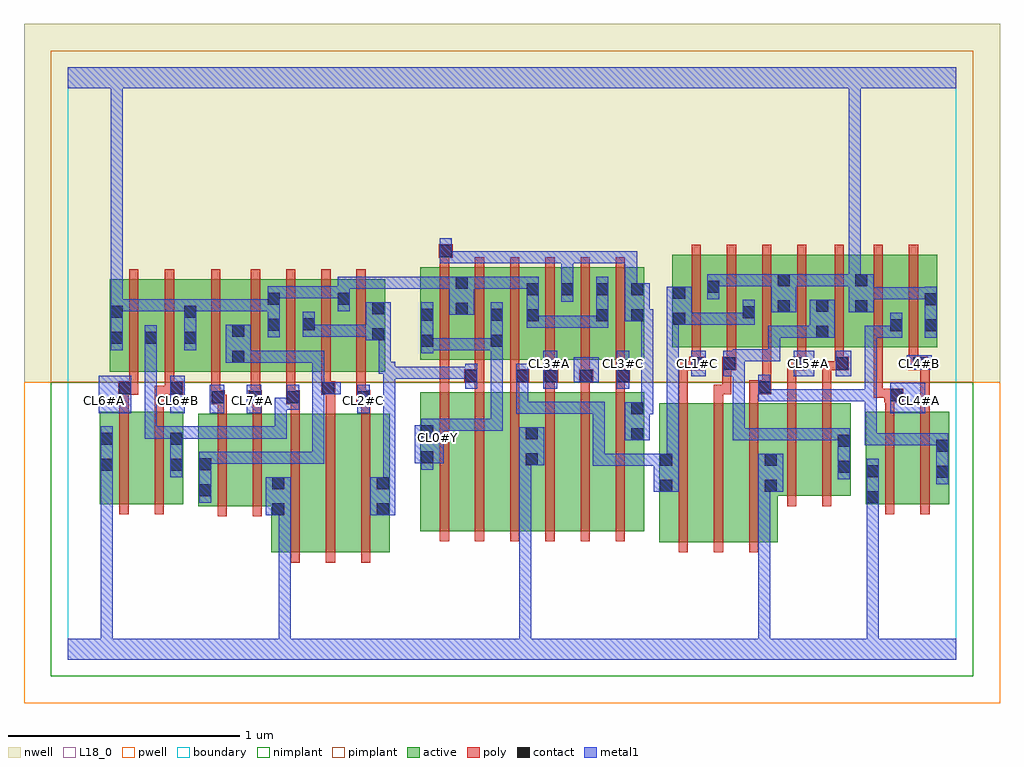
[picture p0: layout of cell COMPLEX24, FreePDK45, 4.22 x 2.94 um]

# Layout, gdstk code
import gdstk
lib = gdstk.Library(unit=1e-6, precision=1e-09)
def R(c, l, rs):  # rectangles x0, y0, x1, y1
    for r in rs: c.add(gdstk.rectangle(r[:2], r[2:], *l))
def A(c, l, x, y, w, h, nx, ny, dx, dy):  # array of equal rectangles
    R(c, l, [(x+i*dx, y+j*dy, x+i*dx+w, y+j*dy+h) for i in range(nx) for j in range(ny)])
active = (1, 0)
pwell = (2, 0)
nwell = (3, 0)
nimplant = (4, 0)
pimplant = (5, 0)
poly = (9, 0)
contact = (10, 0)
metal1 = (11, 0)
L18_0 = (18, 0)
boundary = (235, 0)

complex24 = lib.new_cell('COMPLEX24')
A(complex24, active, 0.708, 1.244, 0.212, 0.4, 3, 1, 0.152, 0)
R(complex24, active, [(0.88,0.464,1.06,1.064), (0.88,0.464,0.94,0.792), (1.06,0.464,1.212,1.064), (1.212,0.464,1.392,1.064), (1.332,0.464,1.392,1.064), (2.556,0.508,2.736,1.108), (2.736,0.508,2.888,1.108), (2.888,0.508,3.068,1.108), (3.008,0.508,3.068,0.894), (1.524,0.556,1.704,1.156), (1.524,0.556,1.584,1.156), (1.704,0.556,1.856,1.156), (1.856,0.556,2.036,1.156), (1.976,0.556,2.16,1.156), (1.976,0.556,2.036,1.008), (2.16,0.556,2.312,1.156), (2.312,0.556,2.492,1.156), (2.432,0.556,2.492,1.156), (2.556,0.556,2.616,1.108), (0.564,0.664,0.624,1.064), (0.564,0.664,0.744,1.064), (0.744,0.664,0.94,1.064), (0.14,0.672,0.2,1.072), (0.14,0.672,0.32,1.072), (0.32,0.672,0.5,1.072), (0.44,0.672,0.5,1.072), (3.448,0.672,3.508,1.072), (3.448,0.672,3.628,1.072), (3.628,0.672,3.808,1.072), (3.748,0.672,3.808,1.072), (3.008,0.708,3.204,1.108), (3.204,0.708,3.384,1.108), (3.324,0.708,3.384,1.108), (0.182,1.244,0.242,1.644), (0.182,1.244,0.39,1.644), (0.33,1.244,0.56,1.644), (0.5,1.244,0.768,1.644), (1.164,1.244,1.372,1.644), (1.312,1.244,1.372,1.644), (0.708,1.28,0.768,1.644), (1.524,1.296,1.732,1.696), (1.524,1.296,1.584,1.644), (1.672,1.296,1.732,1.696), (1.672,1.296,1.884,1.696), (1.824,1.296,2.04,1.696), (1.98,1.296,2.188,1.696), (2.128,1.296,2.34,1.696), (2.28,1.296,2.492,1.696), (2.432,1.296,2.492,1.696), (1.824,1.348,1.884,1.644), (2.612,1.35,2.672,1.644), (2.612,1.35,2.82,1.75), (2.76,1.35,2.972,1.75), (2.912,1.35,3.124,1.75), (3.064,1.35,3.124,1.75), (3.064,1.35,3.29,1.75), (3.23,1.35,3.458,1.75), (3.398,1.35,3.458,1.75), (3.398,1.35,3.61,1.75), (3.55,1.35,3.758,1.75), (3.698,1.35,3.758,1.644), (0.33,1.362,0.39,1.644), (0.5,1.362,0.56,1.644), (3.23,1.388,3.29,1.644), (3.55,1.416,3.61,1.644), (0.86,1.418,0.92,1.644), (1.012,1.42,1.072,1.644), (1.98,1.458,2.04,1.644), (2.28,1.458,2.34,1.644), (2.912,1.472,2.972,1.644), (1.164,1.53,1.224,1.644), (2.128,1.57,2.188,1.644), (2.76,1.582,2.82,1.644)])
R(complex24, pwell, [(-0.188,-0.188,4.028,1.2)])
R(complex24, nwell, [(-0.188,1.2,4.028,2.748)])
R(complex24, nimplant, [(-0.072,-0.072,3.912,1.2)])
R(complex24, pimplant, [(-0.072,1.2,3.912,2.632)])
A(complex24, poly, 0.964, 0.42, 0.04, 0.688, 3, 1, 0.152, 0)
A(complex24, poly, 2.64, 0.464, 0.04, 0.688, 3, 1, 0.152, 0)
A(complex24, poly, 1.608, 0.512, 0.04, 0.688, 6, 1, 0.152, 0)
A(complex24, poly, 1.76, 1.16, 0.04, 0.076, 5, 1, 0.152, 0)
A(complex24, poly, 0.792, 1.2, 0.04, 0.488, 4, 1, 0.152, 0)
A(complex24, poly, 1.608, 1.216, 0.04, 0.076, 6, 1, 0.152, 0)
A(complex24, poly, 1.608, 1.252, 0.04, 0.488, 6, 1, 0.152, 0)
A(complex24, poly, 2.696, 1.306, 0.04, 0.488, 4, 1, 0.152, 0)
R(complex24, poly, [(0.648,0.62,0.688,1.108), (0.8,0.62,0.84,1.108), (0.224,0.628,0.264,1.116), (0.376,0.628,0.416,1.116), (3.532,0.628,3.572,1.116), (3.684,0.628,3.724,1.116), (3.108,0.664,3.148,1.152), (3.26,0.664,3.3,1.152), (0.648,1.068,0.688,1.144), (0.8,1.068,0.84,1.144), (0.964,1.068,1.004,1.144), (1.116,1.068,1.156,1.184), (1.268,1.068,1.308,1.144), (0.224,1.076,0.264,1.184), (0.376,1.076,0.416,1.184), (3.532,1.076,3.572,1.152), (3.684,1.076,3.724,1.29), (0.62,1.104,0.68,1.164), (0.64,1.104,0.68,1.144), (0.64,1.104,0.688,1.144), (0.78,1.104,0.84,1.164), (0.8,1.104,0.84,1.144), (0.8,1.104,0.84,1.144), (0.944,1.104,1.004,1.164), (1.248,1.104,1.308,1.164), (2.64,1.112,2.68,1.29), (2.792,1.112,2.832,1.188), (2.944,1.112,2.984,1.188), (3.108,1.112,3.148,1.29), (3.26,1.112,3.3,1.29), (3.528,1.112,3.61,1.172), (0.62,1.124,0.66,1.24), (0.792,1.124,0.832,1.24), (0.944,1.124,0.984,1.164), (0.944,1.124,0.984,1.164), (0.944,1.124,0.984,1.24), (1.248,1.124,1.288,1.164), (1.248,1.124,1.288,1.164), (1.248,1.124,1.288,1.24), (3.482,1.132,3.522,1.346), (3.482,1.132,3.568,1.172), (3.528,1.132,3.568,1.172), (0.22,1.144,0.306,1.204), (0.224,1.144,0.264,1.184), (0.224,1.144,0.264,1.184), (0.376,1.144,0.46,1.184), (0.42,1.144,0.46,1.184), (0.42,1.144,0.5,1.204), (1.096,1.144,1.156,1.204), (2.792,1.148,2.868,1.188), (2.828,1.148,2.868,1.29), (2.944,1.148,3.04,1.208), (1.608,1.16,1.648,1.256), (0.266,1.164,0.306,1.24), (0.42,1.164,0.46,1.24), (1.096,1.164,1.136,1.24), (1.096,1.164,1.136,1.204), (1.096,1.164,1.136,1.204), (3,1.168,3.04,1.208), (3,1.168,3.04,1.208), (3,1.168,3.04,1.346), (1.714,1.196,1.8,1.256), (1.912,1.196,1.994,1.256), (2.06,1.196,2.12,1.256), (2.064,1.196,2.104,1.236), (2.064,1.196,2.104,1.236), (2.21,1.196,2.27,1.256), (2.216,1.196,2.256,1.236), (2.216,1.196,2.256,1.236), (2.368,1.196,2.408,1.236), (2.368,1.196,2.408,1.236), (2.368,1.196,2.428,1.256), (0.266,1.2,0.306,1.688), (0.42,1.2,0.46,1.688), (0.62,1.2,0.66,1.688), (1.608,1.216,1.648,1.256), (1.608,1.216,1.648,1.256), (1.608,1.216,1.648,1.256), (1.76,1.216,1.8,1.256), (1.76,1.216,1.8,1.256), (1.912,1.216,1.952,1.256), (1.912,1.216,1.952,1.256), (2.64,1.25,2.726,1.29), (2.686,1.25,2.726,1.29), (2.686,1.25,2.75,1.31), (2.828,1.25,2.888,1.31), (3.108,1.25,3.172,1.29), (3.132,1.25,3.172,1.29), (3.132,1.25,3.192,1.31), (3.26,1.25,3.354,1.29), (3.314,1.25,3.354,1.29), (3.314,1.25,3.374,1.31), (3.634,1.25,3.716,1.31), (3.676,1.25,3.716,1.29), (3.676,1.25,3.724,1.29), (2.696,1.27,2.736,1.346), (2.848,1.27,2.888,1.346), (3.152,1.27,3.192,1.346), (3.314,1.27,3.354,1.346), (3.634,1.27,3.674,1.346), (3.314,1.306,3.354,1.794), (3.482,1.306,3.522,1.794), (3.634,1.306,3.674,1.794), (1.608,1.7,1.648,1.776), (1.604,1.736,1.664,1.796)])
A(complex24, contact, 2.132, 1.574, 0.052, 0.052, 3, 1, 0.152, 0)
R(complex24, contact, [(0.884,0.624,0.936,0.676), (1.336,0.624,1.388,0.676), (3.452,0.676,3.504,0.728), (0.568,0.706,0.62,0.758), (2.56,0.726,2.612,0.778), (3.012,0.726,3.064,0.778), (0.884,0.736,0.936,0.788), (1.336,0.736,1.388,0.788), (3.752,0.786,3.804,0.838), (3.452,0.788,3.504,0.84), (3.328,0.808,3.38,0.86), (0.144,0.816,0.196,0.868), (0.444,0.816,0.496,0.868), (0.568,0.818,0.62,0.87), (2.56,0.838,2.612,0.89), (3.012,0.838,3.064,0.89), (1.98,0.84,2.032,0.892), (1.528,0.85,1.58,0.902), (1.528,0.85,1.58,0.902), (3.752,0.898,3.804,0.95), (3.328,0.92,3.38,0.972), (0.144,0.928,0.196,0.98), (0.444,0.928,0.496,0.98), (2.436,0.948,2.488,1), (1.98,0.952,2.032,1.004), (1.528,0.962,1.58,1.014), (1.528,0.962,1.58,1.014), (2.436,1.06,2.488,1.112), (0.624,1.108,0.676,1.16), (0.784,1.108,0.836,1.16), (0.948,1.108,1,1.16), (1.252,1.108,1.304,1.16), (3.554,1.116,3.606,1.168), (0.224,1.148,0.276,1.2), (0.444,1.148,0.496,1.2), (1.1,1.148,1.152,1.2), (2.984,1.152,3.036,1.204), (1.718,1.2,1.77,1.252), (1.938,1.2,1.99,1.252), (2.064,1.2,2.116,1.252), (2.214,1.2,2.266,1.252), (2.372,1.2,2.424,1.252), (2.694,1.254,2.746,1.306), (2.832,1.254,2.884,1.306), (3.136,1.254,3.188,1.306), (3.318,1.254,3.37,1.306), (3.654,1.254,3.706,1.306), (0.712,1.284,0.764,1.336), (1.528,1.352,1.58,1.404), (1.828,1.352,1.88,1.404), (0.186,1.366,0.238,1.418), (0.334,1.366,0.386,1.418), (0.504,1.366,0.556,1.418), (1.316,1.38,1.368,1.432), (3.234,1.392,3.286,1.444), (0.712,1.396,0.764,1.448), (3.554,1.42,3.606,1.472), (3.702,1.42,3.754,1.472), (0.864,1.422,0.916,1.474), (1.016,1.424,1.068,1.476), (2.616,1.448,2.668,1.5), (1.984,1.462,2.036,1.514), (2.284,1.462,2.336,1.514), (2.436,1.462,2.488,1.514), (1.528,1.464,1.58,1.516), (1.828,1.464,1.88,1.516), (2.916,1.476,2.968,1.528), (0.186,1.478,0.238,1.53), (0.504,1.478,0.556,1.53), (1.676,1.49,1.728,1.542), (1.316,1.492,1.368,1.544), (3.068,1.502,3.12,1.554), (3.402,1.502,3.454,1.554), (3.234,1.504,3.286,1.556), (3.702,1.532,3.754,1.584), (0.864,1.534,0.916,1.586), (1.168,1.534,1.22,1.586), (2.616,1.56,2.668,1.612), (1.984,1.574,2.036,1.626), (2.764,1.586,2.816,1.638), (1.676,1.602,1.728,1.654), (3.068,1.614,3.12,1.666), (3.402,1.614,3.454,1.666), (1.608,1.74,1.66,1.792)])
A(complex24, metal1, 2.998, 0.948, 0.052, 0.052, 3, 2, 0.11, 0.666)
A(complex24, metal1, 2.998, 0.948, 0.162, 0.052, 3, 1, 0.11, 0)
A(complex24, metal1, 1.938, 1.062, 0.052, 0.052, 3, 1, 0.11, 0)
A(complex24, metal1, 1.938, 1.062, 0.162, 0.052, 3, 1, 0.11, 0)
A(complex24, metal1, 3.482, 1.558, 0.052, 0.052, 3, 1, 0.11, 0)
A(complex24, metal1, 1.608, 1.712, 0.162, 0.052, 4, 1, 0.11, 0)
A(complex24, metal1, 1.718, 1.712, 0.052, 0.052, 3, 1, 0.11, 0)
R(complex24, metal1, [(0,0,3.84,0.092), (0.144,0.04,0.196,0.092), (0.144,0.04,0.196,0.092), (0.144,0.04,0.196,0.092), (0.144,0.04,0.196,0.092), (0.144,0.04,0.196,0.092), (0.144,0.04,0.196,0.092), (0.144,0.04,0.196,0.092), (0.144,0.04,0.196,0.092), (0.144,0.04,0.196,0.092), (0.144,0.04,0.196,0.092), (0.144,0.04,0.196,0.84), (0.912,0.04,0.964,0.092), (0.912,0.04,0.964,0.092), (0.912,0.04,0.964,0.676), (1.952,0.04,2.004,0.092), (1.952,0.04,2.004,0.092), (1.952,0.04,2.004,0.892), (2.984,0.04,3.036,0.092), (2.984,0.04,3.036,0.092), (2.984,0.04,3.036,0.092), (2.984,0.04,3.036,0.092), (2.984,0.04,3.036,0.778), (3.452,0.04,3.504,0.092), (3.452,0.04,3.504,0.092), (3.452,0.04,3.504,0.7), (0.856,0.624,0.964,0.788), (0.912,0.624,0.964,0.676), (0.912,0.624,0.964,0.676), (0.912,0.624,0.964,0.676), (0.912,0.624,0.964,0.676), (0.912,0.624,0.964,0.676), (0.912,0.624,0.964,0.676), (1.308,0.624,1.416,0.788), (3.452,0.648,3.504,0.7), (3.452,0.648,3.504,0.7), (3.452,0.648,3.504,0.7), (3.452,0.648,3.504,0.7), (3.452,0.648,3.504,0.7), (3.452,0.648,3.504,0.7), (3.452,0.648,3.504,0.7), (3.452,0.648,3.504,0.7), (3.452,0.648,3.504,0.7), (3.452,0.648,3.504,0.7), (3.452,0.648,3.504,0.868), (0.568,0.678,0.62,0.898), (2.532,0.726,2.64,0.89), (2.984,0.726,3.036,0.778), (2.984,0.726,3.036,0.778), (2.984,0.726,3.036,0.778), (2.984,0.726,3.036,0.778), (2.984,0.726,3.092,0.89), (1.364,0.736,1.416,1.266), (3.752,0.758,3.804,0.978), (3.328,0.78,3.38,1), (0.144,0.788,0.196,0.84), (0.144,0.788,0.196,0.84), (0.144,0.788,0.196,1.008), (0.444,0.788,0.496,1.008), (1.528,0.822,1.58,1.042), (2.268,0.838,2.32,0.89), (2.268,0.838,2.32,0.89), (2.268,0.838,2.32,0.89), (2.268,0.838,2.584,0.89), (2.268,0.838,2.32,1.114), (2.532,0.838,2.584,0.89), (2.532,0.838,2.584,0.89), (2.588,0.838,2.64,0.89), (2.588,0.838,2.64,0.89), (2.588,0.838,2.64,0.904), (1.952,0.84,2.004,0.892), (1.952,0.84,2.004,0.892), (1.952,0.84,2.004,0.892), (1.952,0.84,2.004,0.892), (1.952,0.84,2.004,0.892), (1.952,0.84,2.004,0.892), (1.952,0.84,2.06,1.004), (0.568,0.846,0.666,0.898), (0.614,0.846,0.666,0.898), (0.614,0.846,0.798,0.898), (0.746,0.846,0.798,0.898), (0.746,0.846,0.798,0.898), (0.746,0.846,0.798,0.898), (0.746,0.846,0.948,0.898), (0.896,0.846,0.948,0.898), (0.896,0.846,0.948,0.898), (0.896,0.846,0.948,0.898), (0.896,0.846,1.11,0.898), (1.058,0.846,1.11,0.898), (1.058,0.846,1.11,1.2), (1.5,0.85,1.626,1.014), (2.588,0.852,2.64,0.904), (2.588,0.852,2.64,1.5), (3.444,0.926,3.496,0.978), (3.444,0.926,3.496,0.978), (3.444,0.926,3.496,0.978), (3.444,0.926,3.644,0.978), (3.444,0.926,3.496,1.168), (3.592,0.926,3.644,0.978), (3.592,0.926,3.644,0.978), (3.592,0.926,3.644,0.978), (3.592,0.926,3.804,0.978), (2.408,0.948,2.516,1.112), (2.874,0.948,2.926,1), (2.874,0.948,3.05,1), (2.874,0.948,2.926,1.334), (2.998,0.948,3.05,1), (2.998,0.948,3.05,1), (3.218,0.948,3.27,1), (3.218,0.948,3.27,1), (0.334,0.956,0.386,1.008), (0.334,0.956,0.386,1.008), (0.334,0.956,0.386,1.008), (0.334,0.956,0.386,1.008), (0.334,0.956,0.386,1.008), (0.334,0.956,0.496,1.008), (0.334,0.956,0.496,1.008), (0.334,0.956,0.386,1.39), (0.444,0.956,0.496,1.008), (0.444,0.956,0.496,1.008), (0.444,0.956,0.496,1.008), (0.444,0.956,0.606,1.008), (0.554,0.956,0.606,1.008), (0.554,0.956,0.666,1.008), (0.614,0.956,0.666,1.008), (0.614,0.956,0.798,1.008), (0.746,0.956,0.798,1.008), (0.746,0.956,0.798,1.008), (0.746,0.956,0.798,1.008), (0.746,0.956,0.948,1.008), (0.896,0.956,0.948,1.132), (1.528,0.99,1.58,1.042), (1.528,0.99,1.58,1.042), (1.528,0.99,1.77,1.042), (1.718,0.99,1.77,1.042), (1.718,0.99,1.88,1.042), (1.828,0.99,1.88,1.042), (1.828,0.99,1.88,1.042), (1.828,0.99,1.88,1.042), (1.828,0.99,1.88,1.042), (1.828,0.99,1.88,1.042), (1.828,0.99,1.88,1.376), (2.464,1.06,2.516,1.112), (2.464,1.06,2.53,1.112), (2.478,1.06,2.53,1.514), (1.938,1.062,1.99,1.224), (2.158,1.062,2.21,1.114), (2.158,1.062,2.21,1.114), (2.268,1.062,2.32,1.114), (0.134,1.066,0.276,1.228), (0.444,1.066,0.506,1.228), (0.614,1.066,0.676,1.188), (0.774,1.066,0.836,1.188), (1.252,1.066,1.306,1.188), (3.554,1.066,3.706,1.196), (0.896,1.08,1,1.132), (0.948,1.08,1,1.188), (2.984,1.116,3.16,1.168), (2.984,1.116,3.036,1.176), (3.108,1.116,3.16,1.168), (3.108,1.116,3.27,1.168), (3.218,1.116,3.27,1.168), (3.218,1.116,3.27,1.168), (3.218,1.116,3.27,1.168), (3.218,1.116,3.38,1.168), (3.328,1.116,3.38,1.168), (3.328,1.116,3.496,1.168), (3.444,1.116,3.496,1.168), (3.444,1.116,3.496,1.168), (3.444,1.116,3.496,1.168), (3.444,1.116,3.496,1.444), (2.984,1.124,3.036,1.176), (2.984,1.124,3.036,1.232), (1.058,1.148,1.11,1.2), (1.058,1.148,1.124,1.2), (1.058,1.148,1.11,1.336), (1.072,1.148,1.18,1.2), (1.718,1.172,1.77,1.28), (1.938,1.172,1.99,1.224), (1.938,1.172,1.99,1.224), (1.938,1.172,1.99,1.28), (2.054,1.172,2.116,1.334), (2.372,1.172,2.426,1.334), (2.186,1.2,2.294,1.306), (1.364,1.214,1.416,1.266), (1.364,1.214,1.416,1.266), (1.364,1.214,1.416,1.266), (1.364,1.214,1.526,1.266), (1.364,1.214,1.416,1.288), (1.474,1.214,1.526,1.266), (1.474,1.214,1.704,1.266), (1.652,1.214,1.704,1.266), (1.652,1.214,1.77,1.266), (2.694,1.226,2.758,1.334), (2.832,1.226,2.884,1.334), (3.136,1.226,3.226,1.334), (3.318,1.226,3.386,1.334), (1.344,1.236,1.396,1.432), (1.344,1.236,1.416,1.288), (3.626,1.254,3.734,1.316), (2.832,1.282,2.926,1.334), (2.874,1.282,2.926,1.334), (2.874,1.282,2.926,1.334), (2.874,1.282,2.926,1.342), (0.684,1.284,0.792,1.448), (0.74,1.284,0.792,1.336), (0.74,1.284,0.792,1.336), (0.74,1.284,0.958,1.336), (0.906,1.284,0.958,1.336), (0.906,1.284,0.958,1.336), (0.906,1.284,0.958,1.336), (0.906,1.284,0.958,1.336), (0.906,1.284,0.958,1.336), (0.906,1.284,1.11,1.336), (1.058,1.284,1.11,1.336), (2.874,1.29,3.036,1.342), (2.984,1.29,3.036,1.342), (2.984,1.29,3.078,1.342), (3.026,1.29,3.078,1.342), (3.026,1.29,3.078,1.444), (1.528,1.324,1.58,1.544), (1.828,1.324,1.88,1.376), (1.828,1.324,1.88,1.376), (1.828,1.324,1.88,1.544), (0.186,1.338,0.238,1.558), (0.334,1.338,0.386,1.39), (0.334,1.338,0.386,1.39), (0.334,1.338,0.386,1.446), (0.504,1.338,0.556,1.558), (1.528,1.338,1.58,1.39), (1.528,1.338,1.58,1.39), (1.528,1.338,1.77,1.39), (1.718,1.338,1.77,1.39), (1.718,1.338,1.77,1.39), (1.718,1.338,1.77,1.39), (1.718,1.338,1.88,1.39), (1.288,1.38,1.396,1.544), (3.026,1.392,3.078,1.444), (3.026,1.392,3.16,1.444), (3.108,1.392,3.16,1.444), (3.108,1.392,3.258,1.444), (3.206,1.392,3.314,1.556), (3.444,1.392,3.496,1.444), (3.444,1.392,3.496,1.444), (3.444,1.392,3.496,1.444), (3.444,1.392,3.606,1.444), (3.554,1.392,3.606,1.5), (3.702,1.392,3.754,1.612), (0.864,1.394,0.916,1.614), (1.016,1.396,1.068,1.504), (1.016,1.396,1.11,1.448), (1.058,1.396,1.11,1.448), (1.058,1.396,1.23,1.448), (1.178,1.396,1.23,1.448), (1.178,1.396,1.23,1.448), (1.178,1.396,1.23,1.448), (1.178,1.396,1.34,1.448), (1.984,1.434,2.036,1.486), (1.984,1.434,2.036,1.486), (1.984,1.434,2.036,1.654), (1.984,1.434,2.1,1.486), (2.048,1.434,2.1,1.486), (2.048,1.434,2.21,1.486), (2.158,1.434,2.21,1.486), (2.158,1.434,2.21,1.486), (2.158,1.434,2.21,1.486), (2.158,1.434,2.336,1.486), (2.284,1.434,2.336,1.654), (2.588,1.448,2.64,1.5), (2.588,1.448,2.64,1.5), (2.588,1.448,2.696,1.612), (2.644,1.448,2.696,1.5), (2.644,1.448,2.696,1.5), (2.644,1.448,2.806,1.5), (2.754,1.448,2.806,1.5), (2.754,1.448,2.806,1.5), (2.754,1.448,2.806,1.5), (2.754,1.448,2.968,1.5), (2.916,1.448,2.968,1.556), (2.408,1.462,2.516,1.626), (2.464,1.462,2.516,1.514), (2.464,1.462,2.53,1.514), (2.478,1.462,2.53,1.514), (2.478,1.462,2.53,1.514), (2.478,1.462,2.53,1.514), (2.478,1.462,2.53,1.514), (2.478,1.462,2.53,1.514), (2.478,1.462,2.53,1.514), (1.648,1.49,1.756,1.654), (3.04,1.502,3.148,1.666), (3.374,1.502,3.482,1.666), (0.186,1.506,0.238,1.558), (0.186,1.506,0.238,1.558), (0.186,1.506,0.386,1.558), (0.186,1.506,0.238,2.52), (0.334,1.506,0.386,1.558), (0.334,1.506,0.386,1.558), (0.334,1.506,0.386,1.558), (0.334,1.506,0.556,1.558), (0.504,1.506,0.606,1.558), (0.554,1.506,0.606,1.558), (0.554,1.506,0.666,1.558), (0.614,1.506,0.666,1.558), (0.614,1.506,0.798,1.558), (0.746,1.506,0.798,1.558), (0.746,1.506,0.798,1.558), (0.746,1.506,0.798,1.558), (0.746,1.506,0.916,1.558), (1.168,1.506,1.22,1.614), (2.132,1.546,2.184,1.654), (2.764,1.558,2.816,1.666), (3.43,1.558,3.534,1.61), (3.482,1.558,3.644,1.61), (3.592,1.558,3.754,1.61), (3.702,1.558,3.754,1.61), (0.864,1.562,1,1.614), (0.948,1.562,1,1.614), (0.948,1.562,1.11,1.614), (1.058,1.562,1.11,1.614), (1.058,1.562,1.11,1.614), (1.058,1.562,1.11,1.614), (1.058,1.562,1.22,1.614), (1.168,1.562,1.22,1.614), (1.168,1.562,1.22,1.654), (2.408,1.574,2.46,1.764), (1.168,1.602,1.416,1.654), (1.364,1.602,1.416,1.654), (1.364,1.602,1.526,1.654), (1.474,1.602,1.526,1.654), (1.474,1.602,1.526,1.654), (1.474,1.602,1.526,1.654), (1.474,1.602,1.7,1.654), (1.704,1.602,1.88,1.654), (1.828,1.602,1.88,1.654), (1.828,1.602,1.88,1.654), (1.828,1.602,1.88,1.654), (1.828,1.602,1.99,1.654), (1.938,1.602,1.99,1.654), (1.938,1.602,2.036,1.654), (2.132,1.602,2.184,1.764), (2.764,1.614,2.926,1.666), (2.874,1.614,2.926,1.666), (2.874,1.614,2.926,1.666), (2.874,1.614,2.926,1.666), (2.874,1.614,3.05,1.666), (2.998,1.614,3.092,1.666), (3.096,1.614,3.16,1.666), (3.108,1.614,3.27,1.666), (3.218,1.614,3.27,1.666), (3.218,1.614,3.27,1.666), (3.218,1.614,3.386,1.666), (3.334,1.614,3.386,1.666), (3.334,1.614,3.426,1.666), (3.374,1.614,3.426,1.666), (3.374,1.614,3.426,1.666), (3.374,1.614,3.426,1.666), (3.374,1.614,3.426,1.666), (3.374,1.614,3.426,2.52), (1.608,1.712,1.66,1.82), (1.718,1.712,1.77,1.764), (1.718,1.712,1.77,1.764), (1.938,1.712,1.99,1.764), (1.938,1.712,1.99,1.764), (2.048,1.712,2.1,1.764), (2.048,1.712,2.184,1.764), (2.132,1.712,2.184,1.764), (2.132,1.712,2.21,1.764), (2.158,1.712,2.21,1.764), (2.158,1.712,2.32,1.764), (2.268,1.712,2.32,1.764), (2.268,1.712,2.46,1.764), (2.408,1.712,2.46,1.764), (2.408,1.712,2.46,1.764), (2.408,1.712,2.46,1.764), (0,2.468,3.84,2.56), (0.186,2.468,0.238,2.52), (0.186,2.468,0.238,2.52), (0.186,2.468,0.238,2.52), (0.186,2.468,0.238,2.52), (0.186,2.468,0.238,2.52), (0.186,2.468,0.238,2.52), (0.186,2.468,0.238,2.52), (0.186,2.468,0.238,2.52), (0.186,2.468,0.238,2.52), (0.186,2.468,0.238,2.52), (0.186,2.468,0.238,2.52), (0.186,2.468,0.238,2.52), (0.186,2.468,0.238,2.52), (0.186,2.468,0.238,2.52), (0.186,2.468,0.238,2.52), (0.186,2.468,0.238,2.52), (3.374,2.468,3.426,2.52), (3.374,2.468,3.426,2.52), (3.374,2.468,3.426,2.52), (3.374,2.468,3.426,2.52), (3.374,2.468,3.426,2.52), (3.374,2.468,3.426,2.52), (3.374,2.468,3.426,2.52), (3.374,2.468,3.426,2.52), (3.374,2.468,3.426,2.52), (3.374,2.468,3.426,2.52), (3.374,2.468,3.426,2.52), (3.374,2.468,3.426,2.52)])
A(complex24, L18_0, 0.454, 1.094, 0.052, 0.052, 3, 1, 0.16, 0)
A(complex24, L18_0, 2.054, 1.254, 0.052, 0.052, 3, 1, 0.16, 0)
A(complex24, L18_0, 3.482, 1.558, 0.052, 0.052, 3, 1, 0.11, 0)
A(complex24, L18_0, 2.998, 1.614, 0.052, 0.052, 3, 1, 0.11, 0)
R(complex24, L18_0, [(0,0,3.84,0.092), (0.144,0.04,0.196,0.092), (0.144,0.04,0.196,0.092), (0.144,0.04,0.196,0.092), (0.144,0.04,0.196,0.092), (0.144,0.04,0.196,0.092), (0.144,0.04,0.196,0.092), (0.144,0.04,0.196,0.092), (0.144,0.04,0.196,0.092), (0.144,0.04,0.196,0.092), (0.144,0.04,0.196,0.092), (0.144,0.04,0.196,0.84), (0.912,0.04,0.964,0.092), (0.912,0.04,0.964,0.092), (0.912,0.04,0.964,0.676), (1.952,0.04,2.004,0.092), (1.952,0.04,2.004,0.092), (1.952,0.04,2.004,0.892), (2.984,0.04,3.036,0.092), (2.984,0.04,3.036,0.092), (2.984,0.04,3.036,0.092), (2.984,0.04,3.036,0.092), (2.984,0.04,3.036,0.778), (3.452,0.04,3.504,0.092), (3.452,0.04,3.504,0.092), (3.452,0.04,3.504,0.7), (0.856,0.624,0.964,0.788), (0.912,0.624,0.964,0.676), (0.912,0.624,0.964,0.676), (0.912,0.624,0.964,0.676), (0.912,0.624,0.964,0.676), (0.912,0.624,0.964,0.676), (0.912,0.624,0.964,0.676), (3.452,0.648,3.504,0.7), (3.452,0.648,3.504,0.7), (3.452,0.648,3.504,0.7), (3.452,0.648,3.504,0.7), (3.452,0.648,3.504,0.7), (3.452,0.648,3.504,0.7), (3.452,0.648,3.504,0.7), (3.452,0.648,3.504,0.7), (3.452,0.648,3.504,0.7), (3.452,0.648,3.504,0.7), (3.452,0.648,3.504,0.868), (2.984,0.726,3.036,0.778), (2.984,0.726,3.036,0.778), (2.984,0.726,3.036,0.778), (2.984,0.726,3.036,0.778), (2.984,0.726,3.092,0.89), (0.144,0.788,0.196,0.84), (0.144,0.788,0.196,0.84), (0.144,0.788,0.196,1.008), (1.528,0.822,1.58,1.042), (1.952,0.84,2.004,0.892), (1.952,0.84,2.004,0.892), (1.952,0.84,2.004,0.892), (1.952,0.84,2.004,0.892), (1.952,0.84,2.004,0.892), (1.952,0.84,2.004,0.892), (1.952,0.84,2.06,1.004), (1.5,0.85,1.626,1.014), (1.574,0.934,1.626,0.986), (1.528,0.99,1.58,1.042), (1.528,0.99,1.58,1.042), (1.528,0.99,1.77,1.042), (1.718,0.99,1.77,1.042), (1.718,0.99,1.88,1.042), (1.828,0.99,1.88,1.042), (1.828,0.99,1.88,1.042), (1.828,0.99,1.88,1.042), (1.828,0.99,1.88,1.042), (1.828,0.99,1.88,1.042), (1.828,0.99,1.88,1.376), (0.134,1.066,0.276,1.228), (0.444,1.066,0.506,1.228), (0.614,1.066,0.676,1.188), (0.774,1.066,0.836,1.188), (1.252,1.066,1.306,1.188), (3.554,1.066,3.706,1.196), (0.134,1.094,0.186,1.146), (1.254,1.094,1.306,1.146), (3.654,1.094,3.706,1.146), (2.054,1.172,2.116,1.334), (2.372,1.172,2.426,1.334), (2.186,1.2,2.294,1.306), (2.694,1.226,2.758,1.334), (3.136,1.226,3.226,1.334), (3.318,1.226,3.386,1.334), (2.694,1.254,2.746,1.306), (3.174,1.254,3.226,1.306), (3.334,1.254,3.386,1.306), (3.626,1.254,3.734,1.316), (3.654,1.254,3.706,1.306), (1.528,1.324,1.58,1.544), (1.828,1.324,1.88,1.376), (1.828,1.324,1.88,1.376), (1.828,1.324,1.88,1.544), (0.186,1.338,0.238,1.558), (0.504,1.338,0.556,1.558), (1.528,1.338,1.58,1.39), (1.528,1.338,1.58,1.39), (1.528,1.338,1.77,1.39), (1.718,1.338,1.77,1.39), (1.718,1.338,1.77,1.39), (1.718,1.338,1.77,1.39), (1.718,1.338,1.88,1.39), (3.702,1.392,3.754,1.612), (0.864,1.394,0.916,1.614), (1.984,1.434,2.036,1.486), (1.984,1.434,2.036,1.486), (1.984,1.434,2.036,1.654), (1.984,1.434,2.1,1.486), (2.048,1.434,2.1,1.486), (2.048,1.434,2.21,1.486), (2.158,1.434,2.21,1.486), (2.158,1.434,2.21,1.486), (2.158,1.434,2.21,1.486), (2.158,1.434,2.336,1.486), (2.284,1.434,2.336,1.654), (1.648,1.49,1.756,1.654), (3.04,1.502,3.148,1.666), (3.374,1.502,3.482,1.666), (0.186,1.506,0.238,1.558), (0.186,1.506,0.238,1.558), (0.186,1.506,0.238,2.52), (0.186,1.506,0.386,1.558), (0.334,1.506,0.386,1.558), (0.334,1.506,0.386,1.558), (0.334,1.506,0.386,1.558), (0.334,1.506,0.556,1.558), (0.504,1.506,0.606,1.558), (0.554,1.506,0.606,1.558), (0.554,1.506,0.666,1.558), (0.614,1.506,0.666,1.558), (0.614,1.506,0.798,1.558), (0.746,1.506,0.798,1.558), (0.746,1.506,0.798,1.558), (0.746,1.506,0.798,1.558), (0.746,1.506,0.916,1.558), (1.168,1.506,1.22,1.614), (2.764,1.558,2.816,1.666), (3.43,1.558,3.534,1.61), (3.482,1.558,3.644,1.61), (3.592,1.558,3.754,1.61), (3.702,1.558,3.754,1.61), (0.864,1.562,1,1.614), (0.948,1.562,1,1.614), (0.948,1.562,1.11,1.614), (1.058,1.562,1.11,1.614), (1.058,1.562,1.11,1.614), (1.058,1.562,1.11,1.614), (1.058,1.562,1.22,1.614), (1.168,1.562,1.22,1.614), (1.168,1.562,1.22,1.654), (1.168,1.602,1.416,1.654), (1.364,1.602,1.416,1.654), (1.364,1.602,1.526,1.654), (1.474,1.602,1.526,1.654), (1.474,1.602,1.526,1.654), (1.474,1.602,1.526,1.654), (1.474,1.602,1.7,1.654), (1.704,1.602,1.88,1.654), (1.828,1.602,1.88,1.654), (1.828,1.602,1.88,1.654), (1.828,1.602,1.88,1.654), (1.828,1.602,1.99,1.654), (1.938,1.602,1.99,1.654), (1.938,1.602,2.036,1.654), (2.764,1.614,2.926,1.666), (2.874,1.614,2.926,1.666), (2.874,1.614,2.926,1.666), (2.874,1.614,2.926,1.666), (2.874,1.614,3.05,1.666), (2.998,1.614,3.092,1.666), (3.096,1.614,3.16,1.666), (3.108,1.614,3.27,1.666), (3.218,1.614,3.27,1.666), (3.218,1.614,3.27,1.666), (3.218,1.614,3.386,1.666), (3.334,1.614,3.386,1.666), (3.334,1.614,3.426,1.666), (3.374,1.614,3.426,1.666), (3.374,1.614,3.426,1.666), (3.374,1.614,3.426,1.666), (3.374,1.614,3.426,1.666), (3.374,1.614,3.426,2.52), (0,2.468,3.84,2.56), (0.186,2.468,0.238,2.52), (0.186,2.468,0.238,2.52), (0.186,2.468,0.238,2.52), (0.186,2.468,0.238,2.52), (0.186,2.468,0.238,2.52), (0.186,2.468,0.238,2.52), (0.186,2.468,0.238,2.52), (0.186,2.468,0.238,2.52), (0.186,2.468,0.238,2.52), (0.186,2.468,0.238,2.52), (0.186,2.468,0.238,2.52), (0.186,2.468,0.238,2.52), (0.186,2.468,0.238,2.52), (0.186,2.468,0.238,2.52), (0.186,2.468,0.238,2.52), (0.186,2.468,0.238,2.52), (3.374,2.468,3.426,2.52), (3.374,2.468,3.426,2.52), (3.374,2.468,3.426,2.52), (3.374,2.468,3.426,2.52), (3.374,2.468,3.426,2.52), (3.374,2.468,3.426,2.52), (3.374,2.468,3.426,2.52), (3.374,2.468,3.426,2.52), (3.374,2.468,3.426,2.52), (3.374,2.468,3.426,2.52), (3.374,2.468,3.426,2.52), (3.374,2.468,3.426,2.52)])
R(complex24, boundary, [(0,0,3.84,2.56)])
complex24.add(gdstk.Label('CL0#Y', (1.6,0.96), layer=11, texttype=0))
complex24.add(gdstk.Label('CL1#C', (2.72,1.28), layer=11, texttype=0))
complex24.add(gdstk.Label('CL2#C', (1.28,1.12), layer=11, texttype=0))
complex24.add(gdstk.Label('CL3#A', (2.08,1.28), layer=11, texttype=0))
complex24.add(gdstk.Label('CL3#B', (2.24,1.28), layer=11, texttype=0))
complex24.add(gdstk.Label('CL3#C', (2.4,1.28), layer=11, texttype=0))
complex24.add(gdstk.Label('CL4#A', (3.68,1.12), layer=11, texttype=0))
complex24.add(gdstk.Label('CL4#B', (3.68,1.28), layer=11, texttype=0))
complex24.add(gdstk.Label('CL5#A', (3.2,1.28), layer=11, texttype=0))
complex24.add(gdstk.Label('CL5#B', (3.36,1.28), layer=11, texttype=0))
complex24.add(gdstk.Label('CL6#A', (0.16,1.12), layer=11, texttype=0))
complex24.add(gdstk.Label('CL6#B', (0.48,1.12), layer=11, texttype=0))
complex24.add(gdstk.Label('CL7#A', (0.8,1.12), layer=11, texttype=0))
complex24.add(gdstk.Label('CL7#B', (0.64,1.12), layer=11, texttype=0))

lib.write_gds('COMPLEX24.gds')
